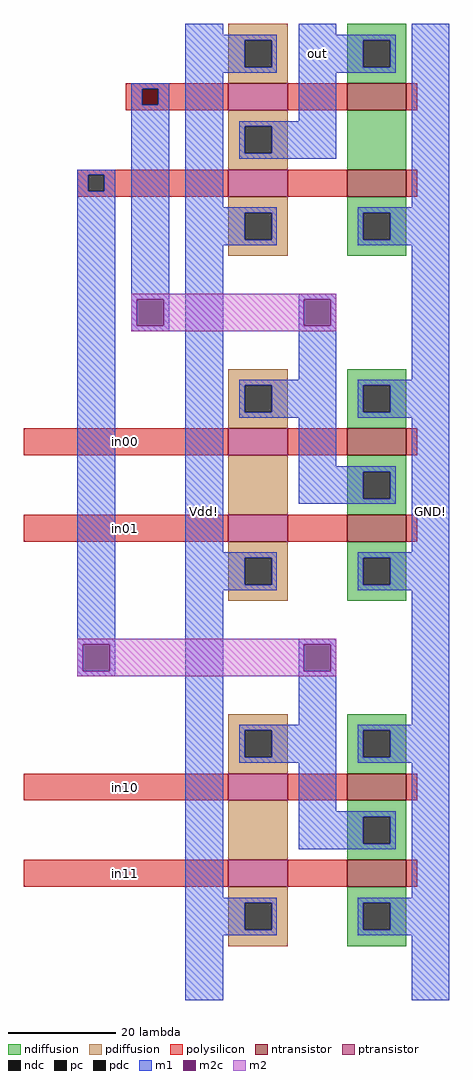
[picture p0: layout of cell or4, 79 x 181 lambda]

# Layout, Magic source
magic
tech sky130l
<< polysilicon >>
rect 1 159 19 160
rect 1 156 3 159
rect 6 156 19 159
rect 1 155 19 156
rect -9 143 19 144
rect -9 140 -7 143
rect -4 140 19 143
rect -9 139 19 140
rect -19 91 19 96
rect -19 75 19 80
rect -19 27 19 32
rect -19 11 19 16
<< pc >>
rect 3 156 6 159
rect -7 140 -4 143
<< m1 >>
rect 1 159 8 160
rect 1 156 3 159
rect 6 156 8 159
rect -9 143 -2 144
rect -9 140 -7 143
rect -4 140 -2 143
rect -9 56 -2 140
rect 1 120 8 156
rect 1 115 2 120
rect 7 115 8 120
rect 1 114 8 115
rect -9 51 -8 56
rect -3 51 -2 56
rect -9 50 -2 51
rect 11 -10 18 171
rect 32 160 39 171
rect 32 120 39 121
rect 32 115 33 120
rect 38 115 39 120
rect 32 107 39 115
rect 32 56 39 57
rect 32 51 33 56
rect 38 51 39 56
rect 32 43 39 51
rect 53 -10 60 171
<< m2c >>
rect 2 115 7 120
rect -8 51 -3 56
rect 33 115 38 120
rect 33 51 38 56
<< m2 >>
rect 1 120 39 121
rect 1 115 2 120
rect 7 115 33 120
rect 38 115 39 120
rect 1 114 39 115
rect -9 56 39 57
rect -9 51 -8 56
rect -3 51 33 56
rect 38 51 39 56
rect -9 50 39 51
use nor2  nor2_0 ../nor
transform 1 0 -256 0 1 -151
box 256 151 316 194
use nor2  nor2_1
transform 1 0 -256 0 1 -87
box 256 151 316 194
use nand2  nand2_0 ../nand
transform 1 0 -44 0 1 97
box 44 31 104 74
<< labels >>
rlabel m1 11 -10 18 171 5 Vdd!
rlabel m1 53 -10 60 171 5 GND!
rlabel m1 32 160 39 171 1 out
rlabel polysilicon -19 91 19 96 7 in00
rlabel polysilicon -19 75 19 80 7 in01
rlabel polysilicon -19 27 19 32 7 in10
rlabel polysilicon -19 11 19 16 7 in11
<< end >>

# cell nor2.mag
magic
tech sky130l
<< ndiffusion >>
rect 297 191 308 194
rect 297 186 300 191
rect 305 186 308 191
rect 297 183 308 186
rect 297 175 308 178
rect 297 170 300 175
rect 305 170 308 175
rect 297 167 308 170
rect 297 159 308 162
rect 297 154 300 159
rect 305 154 308 159
rect 297 151 308 154
<< ndc >>
rect 300 186 305 191
rect 300 170 305 175
rect 300 154 305 159
<< ntransistor >>
rect 297 178 308 183
rect 297 162 308 167
<< pdiffusion >>
rect 275 191 286 194
rect 275 186 278 191
rect 283 186 286 191
rect 275 183 286 186
rect 275 167 286 178
rect 275 159 286 162
rect 275 154 278 159
rect 283 154 286 159
rect 275 151 286 154
<< pdc >>
rect 278 186 283 191
rect 278 154 283 159
<< ptransistor >>
rect 275 178 286 183
rect 275 162 286 167
<< polysilicon >>
rect 256 178 275 183
rect 286 178 297 183
rect 308 178 310 183
rect 256 162 275 167
rect 286 162 297 167
rect 308 162 310 167
<< m1 >>
rect 288 192 295 194
rect 277 191 295 192
rect 277 186 278 191
rect 283 186 295 191
rect 277 185 295 186
rect 299 191 316 192
rect 299 186 300 191
rect 305 186 316 191
rect 299 185 316 186
rect 288 176 295 185
rect 288 175 306 176
rect 288 170 300 175
rect 305 170 306 175
rect 288 169 306 170
rect 309 160 316 185
rect 267 159 284 160
rect 267 154 278 159
rect 283 154 284 159
rect 267 153 284 154
rect 299 159 316 160
rect 299 154 300 159
rect 305 154 316 159
rect 299 153 316 154
<< labels >>
rlabel m1 309 153 316 192 3 GND!
rlabel m1 288 169 295 194 1 out
rlabel polysilicon 256 178 275 183 7 in0
rlabel polysilicon 256 162 275 167 7 in1
rlabel m1 267 153 278 160 7 Vdd!
<< end >>

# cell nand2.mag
magic
tech sky130l
<< ndiffusion >>
rect 85 71 96 74
rect 85 66 88 71
rect 93 66 96 71
rect 85 63 96 66
rect 85 47 96 58
rect 85 39 96 42
rect 85 34 88 39
rect 93 34 96 39
rect 85 31 96 34
<< ndc >>
rect 88 66 93 71
rect 88 34 93 39
<< ntransistor >>
rect 85 58 96 63
rect 85 42 96 47
<< pdiffusion >>
rect 63 71 74 74
rect 63 66 66 71
rect 71 66 74 71
rect 63 63 74 66
rect 63 55 74 58
rect 63 50 66 55
rect 71 50 74 55
rect 63 47 74 50
rect 63 39 74 42
rect 63 34 66 39
rect 71 34 74 39
rect 63 31 74 34
<< pdc >>
rect 66 66 71 71
rect 66 50 71 55
rect 66 34 71 39
<< ptransistor >>
rect 63 58 74 63
rect 63 42 74 47
<< polysilicon >>
rect 44 58 63 63
rect 74 58 85 63
rect 96 58 98 63
rect 44 42 63 47
rect 74 42 85 47
rect 96 42 98 47
<< m1 >>
rect 76 72 83 74
rect 55 71 72 72
rect 55 66 66 71
rect 71 66 72 71
rect 55 65 72 66
rect 76 71 94 72
rect 76 66 88 71
rect 93 66 94 71
rect 76 65 94 66
rect 55 40 62 65
rect 76 56 83 65
rect 65 55 83 56
rect 65 50 66 55
rect 71 50 83 55
rect 65 49 83 50
rect 55 39 72 40
rect 55 34 66 39
rect 71 34 72 39
rect 55 33 72 34
rect 87 39 104 40
rect 87 34 88 39
rect 93 34 104 39
rect 87 33 104 34
<< labels >>
rlabel m1 55 33 62 72 7 Vdd!
rlabel m1 76 49 83 74 1 out
rlabel m1 93 33 104 40 3 GND!
rlabel polysilicon 44 58 63 63 7 in0
rlabel polysilicon 44 42 63 47 7 in1
<< end >>
